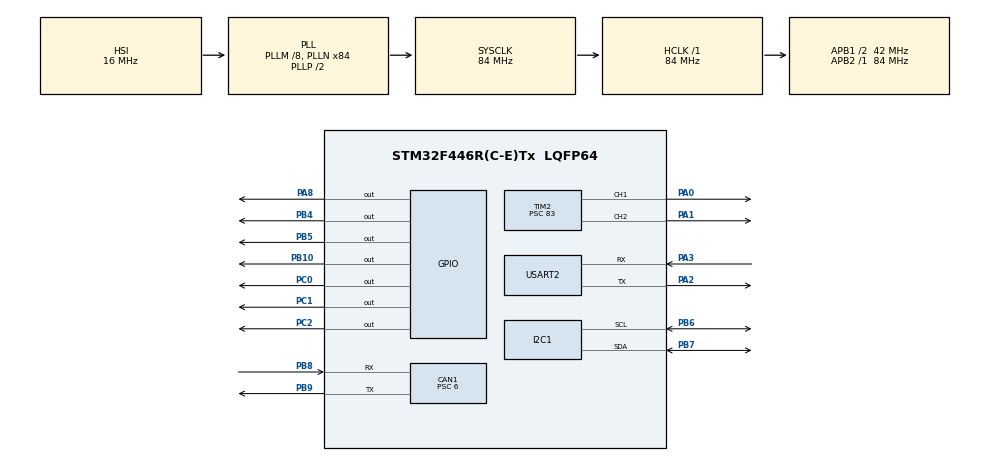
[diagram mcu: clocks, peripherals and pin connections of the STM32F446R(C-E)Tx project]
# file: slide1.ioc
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CAN1.BS1=CAN_BS1_11TQ
CAN1.BS2=CAN_BS2_2TQ
CAN1.CalculateBaudRate=500000
CAN1.CalculateTimeBit=2000
CAN1.CalculateTimeQuantum=142.85714285714286
CAN1.Prescaler=6
FREERTOS.Tasks01=defaultTask,24,128,StartDefaultTask,Default,NULL,Dynamic,NULL,NULL
Mcu.Family=STM32F4
Mcu.Name=STM32F446R(C-E)Tx
Mcu.Package=LQFP64
NVIC.CAN1_RX0_IRQn=true\:5\:0\:false\:false\:true\:true\:true\:true\:true
NVIC.CAN1_TX_IRQn=true\:5\:0\:false\:false\:true\:true\:true\:true\:true
NVIC.PriorityGroup=NVIC_PRIORITYGROUP_4
NVIC.TIM6_DAC_IRQn=true\:15\:0\:false\:false\:true\:false\:false\:true\:true
NVIC.TimeBase=TIM6_DAC_IRQn
NVIC.TimeBaseIP=TIM6
PA0-WKUP.Signal=S_TIM2_CH1_ETR
PA1.Signal=S_TIM2_CH2
PA13.Mode=Serial_Wire
PA13.Signal=SYS_JTMS-SWDIO
PA14.Mode=Serial_Wire
PA14.Signal=SYS_JTCK-SWCLK
PA2.Mode=Asynchronous
PA2.Signal=USART2_TX
PA3.Mode=Asynchronous
PA3.Signal=USART2_RX
PA8.Signal=GPIO_Output
PB10.Signal=GPIO_Output
PB4.Signal=GPIO_Output
PB5.Signal=GPIO_Output
PB6.Mode=I2C
PB6.Signal=I2C1_SCL
PB7.Mode=I2C
PB7.Signal=I2C1_SDA
PB8.Mode=CAN_Activate
PB8.Signal=CAN1_RX
PB9.Mode=CAN_Activate
PB9.Signal=CAN1_TX
PC0.Signal=GPIO_Output
PC1.Signal=GPIO_Output
PC2.Signal=GPIO_Output
PH0-OSC_IN.Mode=HSE-External-Clock-Source
PH0-OSC_IN.Signal=RCC_OSC_IN
PH1-OSC_OUT.Mode=HSE-External-Clock-Source
PH1-OSC_OUT.Signal=RCC_OSC_OUT
ProjectManager.HeapSize=0x200
ProjectManager.StackSize=0x400
ProjectManager.TargetToolchain=CMake
RCC.AHBFreq_Value=84000000
RCC.APB1CLKDivider=RCC_HCLK_DIV2
RCC.APB1Freq_Value=42000000
RCC.APB1TimFreq_Value=84000000
RCC.APB2Freq_Value=84000000
RCC.APB2TimFreq_Value=84000000
RCC.CortexFreq_Value=84000000
RCC.HCLKFreq_Value=84000000
RCC.PLLM=8
RCC.PLLN=84
RCC.SYSCLKFreq_VALUE=84000000
RCC.SYSCLKSource=RCC_SYSCLKSOURCE_PLLCLK
RCC.USBFreq_Value=84000000
RCC.VCOOutputFreq_Value=168000000
SH.S_TIM2_CH1_ETR.0=TIM2_CH1,PWM Generation1 CH1
SH.S_TIM2_CH2.0=TIM2_CH2,PWM Generation2 CH2
TIM2.Channel-PWM\ Generation1\ CH1=TIM_CHANNEL_1
TIM2.Channel-PWM\ Generation2\ CH2=TIM_CHANNEL_2
TIM2.Period=19999
TIM2.Prescaler=83
USART2.VirtualMode=VM_ASYNC
VP_FREERTOS_VS_CMSIS_V2.Mode=CMSIS_V2
VP_SYS_VS_tim6.Mode=TIM6
VP_TIM2_VS_ClockSourceINT.Mode=Internal
board=custom

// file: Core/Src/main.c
/* USER CODE BEGIN Header */
/**
  ******************************************************************************
  * @file           : main.c
  * @brief          : Main program body
  ******************************************************************************
  * @attention
  *
  * Copyright (c) 2026 STMicroelectronics.
  * All rights reserved.
  *
  * This software is licensed under terms that can be found in the LICENSE file
  * in the root directory of this software component.
  * If no LICENSE file comes with this software, it is provided AS-IS.
  *
  ******************************************************************************
  */
/* USER CODE END Header */
#include "main.h"
#include "cmsis_os.h"
#include "can.h"
#include "i2c.h"
#include "tim.h"
#include "usart.h"
#include "gpio.h"

/* USER CODE BEGIN Includes */
#include <stdio.h>      /* printf */
#include "slide.h"          /* 슬라이드 스텝모터 모듈 */
#include "servo.h"          /* 리클라인 서보(SG90 x2) 모듈 — TIM2 PWM */
#include "ina226.h"         /* 서보 전류센서(INA226 x2) — 안티핀치 */
#include "model_car_net.h"  /* cantools 생성 DBC 라이브러리 (프레임 ID/시그널 정식 정의) */
#include "cmsis_os.h"       /* FreeRTOS CMSIS-RTOS2 (태스크/큐/osDelay) */
/* USER CODE END Includes */

/* USER CODE BEGIN PD */
/* 프레임 ID는 model_car_net.h(DBC)를 정식 기준으로 사용한다.
 *   HMI_Emergency        = 0x010  (기존 0x500 매직값은 폐기)
 *   Rear_Left_Seat_Cmd   = 0x120  / _Status = 0x220
 *   Rear_Right_Seat_Cmd  = 0x121  / _Status = 0x221
 */
#define STATUS_PERIOD_MS 100       /* 상태 브로드캐스트 주기 */

/* 슬라이드 위치 센티넬: RL_Slide_Position(0~100mm) 범위 밖 값으로 특수 명령 표현.
 *   255 = 재영점("여기를 0으로", 모터 안 움직임)  — cantest.py 'z'
 *   254 = 호밍("오른쪽 끝 시작점으로 가서 0점 잡기")  — cantest.py 'h'
 * 중간에서 부팅됐을 때 254로 실제 시작점까지 보낸 뒤 m<mm>를 쓰면 절대위치가 맞는다. */
#define SLIDE_REZERO_CMD 255
#define SLIDE_HOME_CMD   254
#define SLIDE_HOLD_CMD   253   /* 슬라이드 유지(안 움직임) — 리클라인 서보만 조정할 때 */

/* 안티핀치: 서보 전류센서(INA226) 7비트 주소 + 판정 파라미터.
 * 서보가 끼임으로 스톨되면 전류가 급상승(SG90 구동 ~150mA → 스톨 ~700mA). */
#define INA226_ADDR_RL    0x40     /* RL 리클라인 서보 전류 → rl_pinch_detected */
#define INA226_ADDR_RR    0x41     /* RR 리클라인 서보 전류 → rr_pinch_detected */
#define PINCH_CURRENT_MA  60000      /* TODO(calibration): 끼임 판정 전류 임계값(mA) */
#define PINCH_DEBOUNCE    3        /* 연속 N회 초과 시 확정(돌입전류 오검출 방지) */
#define PINCH_PERIOD_MS   20       /* 전류 폴링 주기 */
#define PINCH_BACKOFF_DEG 15       /* 끼임 시 서보를 이 각만큼 후퇴시켜 압력 해제 */
#define PINCH_DEBUG       1        /* 1=서보 전류를 300ms마다 UART 출력(진단/임계값 보정용). 끝나면 0 */
/* USER CODE END PD */

/* USER CODE BEGIN PV */
/* 리클라인 각도는 servo 모듈이 보관(servo_get_deg)하므로 별도 에코 변수 불필요 */
uint8_t  cmd_cargo_lamp = 0;       /* TODO: 램프 GPIO */
volatile uint8_t pinch_rl = 0;     /* INA226 안티핀치: 1=RL 끼임(래치). MotionTask 기록/StatusTask 읽기 */
volatile uint8_t pinch_rr = 0;     /* 1=RR 서보 끼임 감지(래치) */
static uint8_t ina_ok_rl = 0;      /* INA226(RL) 장착 여부 — 미장착이면 모니터 skip */
static uint8_t ina_ok_rr = 0;      /* INA226(RR) 장착 여부 */

/* FreeRTOS: CAN 수신 프레임 → 큐 → MotionTask 에서 디코드. ISR 부담 최소화 + 상태 단일소유. */
typedef struct { uint32_t id; uint8_t dlc; uint8_t data[8]; } can_frame_t;
static osMessageQueueId_t canRxQ;
/* USER CODE END PV */

void SystemClock_Config(void);
void MX_FREERTOS_Init(void);
/* USER CODE BEGIN PFP */
static void CAN_Config(void);
static void send_status(void);
static void pinch_service(void);
static void can_dispatch(const can_frame_t *f);   /* 큐에서 꺼낸 프레임 처리(MotionTask) */
void StartMotionTask(void *argument);             /* 액추에이터 + CAN 디스패치 */
void StartStatusTask(void *argument);             /* 상태 송신(100ms) */
void app_rtos_init(void);                          /* 큐/태스크 생성(freertos.c 에서 호출) */
#if PINCH_DEBUG
static void i2c_scan(void);
#endif
/* USER CODE END PFP */

int main(void)
{

  /* MCU Configuration--------------------------------------------------------*/

  /* Reset of all peripherals, Initializes the Flash interface and the Systick. */
  HAL_Init();

  /* Configure the system clock */
  SystemClock_Config();

  /* Initialize all configured peripherals */
  MX_GPIO_Init();
  MX_CAN1_Init();
  MX_USART2_UART_Init();
  MX_TIM2_Init();
  MX_I2C1_Init();
  /* USER CODE BEGIN 2 */
  CAN_Config();
  slide_init();
  servo_init();                       /* 리클라인 서보 PWM 시작(두 채널 0°) */
  servo_set_deg(SERVO_RL, 90);        /* 부팅/리셋 시 좌석 각도 기본 90° (스케줄러 시작 후 servo_service가 램프) */
  servo_set_deg(SERVO_RR, 90);
  ina_ok_rl = ina226_init(INA226_ADDR_RL);   /* 미장착이면 0 → 해당 축 모니터 skip */
  ina_ok_rr = ina226_init(INA226_ADDR_RR);
  printf("Rear_Zone_ECU boot (INA226 RL=%u RR=%u)\r\n", ina_ok_rl, ina_ok_rr);
#if PINCH_DEBUG
  i2c_scan();                                 /* 버스에 응답하는 I2C 주소 출력(진단) */
#endif
  slide_home();                       /* 부팅 시 0점 잡기 */
  /* USER CODE END 2 */

  /* Init scheduler */
  osKernelInitialize();  /* Call init function for freertos objects (in cmsis_os2.c) */
  MX_FREERTOS_Init();

  /* Start scheduler */
  osKernelStart();

  /* We should never get here as control is now taken by the scheduler */

  /* Infinite loop */
  while (1)
  {

    /* USER CODE BEGIN 3 */
    /* FreeRTOS 스케줄러가 제어를 가져가므로 이 지점(main while)엔 도달하지 않음.
     * 애플리케이션 로직은 MotionTask / StatusTask 로 이동(USER CODE 4). */
  }
  /* USER CODE END 3 */
}

void SystemClock_Config(void)
{
  RCC_OscInitTypeDef RCC_OscInitStruct = {0};
  RCC_ClkInitTypeDef RCC_ClkInitStruct = {0};

  /** Configure the main internal regulator output voltage
  */
  __HAL_RCC_PWR_CLK_ENABLE();
  __HAL_PWR_VOLTAGESCALING_CONFIG(PWR_REGULATOR_VOLTAGE_SCALE3);

  /** Initializes the RCC Oscillators according to the specified parameters
  * in the RCC_OscInitTypeDef structure.
  */
  RCC_OscInitStruct.OscillatorType = RCC_OSCILLATORTYPE_HSI;
  RCC_OscInitStruct.HSIState = RCC_HSI_ON;
  RCC_OscInitStruct.HSICalibrationValue = RCC_HSICALIBRATION_DEFAULT;
  RCC_OscInitStruct.PLL.PLLState = RCC_PLL_ON;
  RCC_OscInitStruct.PLL.PLLSource = RCC_PLLSOURCE_HSI;
  RCC_OscInitStruct.PLL.PLLM = 8;
  RCC_OscInitStruct.PLL.PLLN = 84;
  RCC_OscInitStruct.PLL.PLLP = RCC_PLLP_DIV2;
  RCC_OscInitStruct.PLL.PLLQ = 2;
  RCC_OscInitStruct.PLL.PLLR = 2;
  if (HAL_RCC_OscConfig(&RCC_OscInitStruct) != HAL_OK)
  {
    Error_Handler();
  }

  /** Initializes the CPU, AHB and APB buses clocks
  */
  RCC_ClkInitStruct.ClockType = RCC_CLOCKTYPE_HCLK|RCC_CLOCKTYPE_SYSCLK
                              |RCC_CLOCKTYPE_PCLK1|RCC_CLOCKTYPE_PCLK2;
  RCC_ClkInitStruct.SYSCLKSource = RCC_SYSCLKSOURCE_PLLCLK;
  RCC_ClkInitStruct.AHBCLKDivider = RCC_SYSCLK_DIV1;
  RCC_ClkInitStruct.APB1CLKDivider = RCC_HCLK_DIV2;
  RCC_ClkInitStruct.APB2CLKDivider = RCC_HCLK_DIV1;

  if (HAL_RCC_ClockConfig(&RCC_ClkInitStruct, FLASH_LATENCY_2) != HAL_OK)
  {
    Error_Handler();
  }
}

/* USER CODE BEGIN 4 */

/* printf → USART2 (ST-Link VCP) 리타게팅.
 * syscalls.c 의 weak _write 가 문자마다 __io_putchar 를 호출한다. */
int __io_putchar(int ch)
{
  HAL_UART_Transmit(&huart2, (uint8_t *)&ch, 1, HAL_MAX_DELAY);
  return ch;
}

/* CAN: 필터(전부 통과) + 시작 + 수신 인터럽트 활성화.
 * NVIC enable 은 can.c 의 MspInit 에서 이미 했으므로 여기선 하지 않는다. */
static void CAN_Config(void)
{
  CAN_FilterTypeDef f = {0};
  f.FilterBank           = 0;
  f.FilterMode           = CAN_FILTERMODE_IDMASK;
  f.FilterScale          = CAN_FILTERSCALE_32BIT;
  f.FilterIdHigh         = 0x0000;
  f.FilterIdLow          = 0x0000;
  f.FilterMaskIdHigh     = 0x0000;   /* mask 0 = 전부 통과 */
  f.FilterMaskIdLow      = 0x0000;
  f.FilterFIFOAssignment = CAN_RX_FIFO0;
  f.FilterActivation     = ENABLE;

  HAL_CAN_ConfigFilter(&hcan1, &f);
  HAL_CAN_Start(&hcan1);
  HAL_CAN_ActivateNotification(&hcan1, CAN_IT_RX_FIFO0_MSG_PENDING);
}

/* 상태 브로드캐스트: 0x220(좌), 0x221(우). DBC pack 함수로 직렬화 */
static void send_status(void)
{
  CAN_TxHeaderTypeDef tx = {0};
  uint32_t mbx;
  uint8_t  d[8] = {0};

  tx.IDE = CAN_ID_STD;
  tx.RTR = CAN_RTR_DATA;

  /* 0x220 Rear_Left_Seat_Status */
  struct model_car_net_rear_left_seat_status_t rl = {
    .curr_rl_recline   = servo_get_deg(SERVO_RL),  /* RL 리클라인 서보 지령각(°) */
    .rl_pinch_detected = pinch_rl,                 /* INA226 안티핀치 결과(래치) */
    .curr_rl_slide     = slide_report_pos_mm(SLIDE_RL), /* 슬라이드 위치 0~100mm, 0xFF=원점 미확정 */
  };
  tx.StdId = MODEL_CAR_NET_REAR_LEFT_SEAT_STATUS_FRAME_ID;
  tx.DLC   = (uint32_t)model_car_net_rear_left_seat_status_pack(d, &rl, sizeof(d));
  HAL_CAN_AddTxMessage(&hcan1, &tx, d, &mbx);

  /* 0x221 Rear_Right_Seat_Status */
  struct model_car_net_rear_right_seat_status_t rr = {
    .curr_rr_recline   = servo_get_deg(SERVO_RR),  /* RR 리클라인 서보 지령각(°) */
    .rr_pinch_detected = pinch_rr,
    .curr_rr_slide     = slide_report_pos_mm(SLIDE_RR), /* 슬라이드 위치 0~100mm, 0xFF=원점 미확정 */
  };
  tx.StdId = MODEL_CAR_NET_REAR_RIGHT_SEAT_STATUS_FRAME_ID;
  tx.DLC   = (uint32_t)model_car_net_rear_right_seat_status_pack(d, &rr, sizeof(d));
  HAL_CAN_AddTxMessage(&hcan1, &tx, d, &mbx);
}

/* CAN 수신 콜백(ISR): 프레임만 큐에 넣고 즉시 반환 → 무거운 디코드/구동은 MotionTask 로.
 * 큐가 꽉 차면(timeout 0) 드롭. ISR 부담 최소화 + 액추에이터 접근을 단일 태스크로 일원화. */
void HAL_CAN_RxFifo0MsgPendingCallback(CAN_HandleTypeDef *hcan)
{
  CAN_RxHeaderTypeDef rx;
  can_frame_t f = {0};

  if (HAL_CAN_GetRxMessage(hcan, CAN_RX_FIFO0, &rx, f.data) != HAL_OK) return;
  f.id  = rx.StdId;
  f.dlc = rx.DLC;
  osMessageQueuePut(canRxQ, &f, 0, 0);   /* ISR-safe(timeout 0) */
}

/* 큐에서 꺼낸 CAN 프레임을 DBC unpack 하여 slide/servo 모듈로 전달(MotionTask 문맥에서 호출).
 * unpack 의 size 인자는 소스 버퍼 크기(8). data 를 0으로 초기화했으므로 DLC 가 짧아도 0으로 읽힘. */
static void can_dispatch(const can_frame_t *f)
{
  switch (f->id) {

    case MODEL_CAR_NET_SAFE_ABORT_FRAME_ID: {          /* 0x010 SafeAbort: 최고 우선 처리 */
      struct model_car_net_safe_abort_t m;
      if (model_car_net_safe_abort_unpack(&m, f->data, sizeof(f->data)) == 0)
        slide_estop(m.stop_flag);                      /* 1=래치 정지, 0=해제 */
      break;
    }

    case MODEL_CAR_NET_REAR_LEFT_SEAT_CMD_FRAME_ID: {  /* 0x120: 좌석 좌 */
      struct model_car_net_rear_left_seat_cmd_t m;
      if (model_car_net_rear_left_seat_cmd_unpack(&m, f->data, sizeof(f->data)) == 0) {
        pinch_rl = 0;                                  /* 새 명령 = 끼임 해소 간주, 래치 해제 */
        servo_set_deg(SERVO_RL, m.rl_recline_angle);   /* 리클라인 SG90 서보(좌) */
        if (m.rl_slide_position == SLIDE_HOLD_CMD)
          { /* 253 = 슬라이드 유지: 이동 명령 없음(서보만 조정) */ }
        else if (m.rl_slide_position == SLIDE_REZERO_CMD)
          slide_rezero(SLIDE_RL);                       /* 255 = 현재 위치를 0점으로 재설정 */
        else if (m.rl_slide_position == SLIDE_HOME_CMD)
          slide_seek_home(SLIDE_RL);                    /* 254 = 오른쪽 끝(시작점)으로 호밍 */
        else
          slide_set_target_mm(SLIDE_RL, m.rl_slide_position);  /* RL 슬라이드 축(PB5/PB4/PB10) */
      }
      break;
    }

    case MODEL_CAR_NET_REAR_RIGHT_SEAT_CMD_FRAME_ID: { /* 0x121: 좌석 우 */
      struct model_car_net_rear_right_seat_cmd_t m;
      if (model_car_net_rear_right_seat_cmd_unpack(&m, f->data, sizeof(f->data)) == 0) {
        pinch_rr = 0;                                  /* 새 명령 = 끼임 해소 간주, 래치 해제 */
        servo_set_deg(SERVO_RR, m.rr_recline_angle);   /* 리클라인 SG90 서보(우) */
        cmd_cargo_lamp = m.cargo_lamp_status;          /* TODO 램프 GPIO */
        if (m.rr_slide_position == SLIDE_HOLD_CMD)
          { /* 253 = 슬라이드 유지: 이동 명령 없음(서보만 조정) */ }
        else if (m.rr_slide_position == SLIDE_REZERO_CMD)
          slide_rezero(SLIDE_RR);                      /* 255 = 현재 위치를 0점으로 재설정 */
        else if (m.rr_slide_position == SLIDE_HOME_CMD)
          slide_seek_home(SLIDE_RR);                   /* 254 = 오른쪽 끝(시작점)으로 호밍 */
        else
          slide_set_target_mm(SLIDE_RR, m.rr_slide_position);  /* RR 슬라이드 축(PC0/PC1/PC2) */
      }
      break;
    }

    default:
      break;
  }
}

#if PINCH_DEBUG
/* I2C1 버스 스캐너: 0x01~0x7F 주소에 ACK가 오는 장치를 출력(부팅 1회 진단).
 *   - 아무것도 안 나오면 → 전원/풀업/배선(SDA·SCL) 문제 (버스 자체가 죽음)
 *   - 0x40/0x41 아닌 다른 주소가 나오면 → 모듈 주소가 다른 것(A0/A1 핀) */
static void i2c_scan(void)
{
  printf("I2C scan:");
  uint8_t found = 0;
  for (uint8_t a = 1; a < 128; a++) {
    if (HAL_I2C_IsDeviceReady(&hi2c1, (uint16_t)(a << 1), 2, 5) == HAL_OK) {
      printf(" 0x%02X", a);
      found++;
    }
  }
  printf(found ? "\r\n" : " (없음 - 전원/풀업/배선 확인)\r\n");
}
#endif

/* 안티핀치: 두 서보의 전류를 주기적으로 읽어 스톨(끼임)을 감지한다.
 * 임계 전류를 PINCH_DEBOUNCE회 연속 넘으면 끼임 확정 → pinch 래치 ON(상태로 보고)
 * + 서보를 PINCH_BACKOFF_DEG 만큼 후퇴시켜 압력을 해제한다.
 * 미장착 센서(ina_ok=0)는 건너뛴다. 래치는 새 명령 수신 시 해제(RxCallback). */
static void pinch_service(void)
{
  static uint32_t lastTick = 0;
  static uint8_t  cntRL = 0, cntRR = 0;

  uint32_t now = HAL_GetTick();

#if PINCH_DEBUG
  /* 진단: 300ms마다 두 서보 전류·센서인식·핀치상태를 UART로 출력.
   * 막았을 때 mA가 얼마나 뛰는지 보고 PINCH_CURRENT_MA 를 그 아래로 맞춘다. */
  static uint32_t lastDbgTick = 0;
  if (now - lastDbgTick >= 300) {
    lastDbgTick = now;
    int32_t iRL = ina226_read_current_mA(INA226_ADDR_RL);
    int32_t iRR = ina226_read_current_mA(INA226_ADDR_RR);
    printf("INA RL(ok%u) %ldmA | RR(ok%u) %ldmA | pinch[%u %u]\r\n",
           ina_ok_rl, (long)iRL, ina_ok_rr, (long)iRR, pinch_rl, pinch_rr);
  }
#endif

  if (now - lastTick < PINCH_PERIOD_MS) return;       /* 폴링 주기 throttle */
  lastTick = now;

  if (ina_ok_rl) {
    int32_t i = ina226_read_current_mA(INA226_ADDR_RL);
    if (i < 0) i = -i;                                 /* 배선 방향 무관, 절대전류 */
    if (i > PINCH_CURRENT_MA) {
      if (++cntRL >= PINCH_DEBOUNCE) {
        cntRL = 0;
        pinch_rl = 1;
        servo_pinch_relief(SERVO_RL, PINCH_BACKOFF_DEG);   /* 진행 반대로 후퇴+정지 */
      }
    } else {
      cntRL = 0;
    }
  }

  if (ina_ok_rr) {
    int32_t i = ina226_read_current_mA(INA226_ADDR_RR);
    if (i < 0) i = -i;
    if (i > PINCH_CURRENT_MA) {
      if (++cntRR >= PINCH_DEBOUNCE) {
        cntRR = 0;
        pinch_rr = 1;
        servo_pinch_relief(SERVO_RR, PINCH_BACKOFF_DEG);   /* 진행 반대로 후퇴+정지 */
      }
    } else {
      cntRR = 0;
    }
  }
}

/* --------------------------------------------------------------------------
 *  FreeRTOS 태스크 (슈퍼루프 → 태스크 분리)
 * ------------------------------------------------------------------------ */

/* MotionTask(높은 우선순위): CAN 명령 소비 → 슬라이드/서보/안티핀치 서비스.
 * 액추에이터·I2C 상태를 이 태스크가 단독 소유하므로 별도 락 불필요.
 * osDelay(1)로 1ms 주기 — 스텝 타이밍은 slide.c 내부 DWT(µs) 판정 유지. */
void StartMotionTask(void *argument)
{
  (void)argument;
  uint32_t lastStatusTick = 0;
  for (;;) {
    can_frame_t f;
    while (osMessageQueueGet(canRxQ, &f, NULL, 0) == osOK)
      can_dispatch(&f);               /* 수신 명령 적용(디코드) */
    slide_service();                  /* 논블로킹 슬라이드 이동 */
    servo_service();                  /* 논블로킹 서보 램프 */
    pinch_service();                  /* 안티핀치(내부 20ms throttle) */
    /* 이동 중엔 tight-loop로 정밀 스텝(DWT µs) — osDelay(1) 지터가 스텝모터 탈조 유발.
     * 대기 중엔 osDelay로 StatusTask/idle 에 양보(HAL tick=TIM6·DWT는 계속 진행). */
    if (slide_is_moving()) {
      /* 이동 중에도 현재 위치 보고: tight-loop가 StatusTask(Normal)를 기아시키므로,
       * 여기서 STATUS_PERIOD_MS 주기로 직접 송신한다. 이동 종료 시 StatusTask가 최종 위치를 확정 송신. */
      uint32_t now = osKernelGetTickCount();
      if (now - lastStatusTick >= STATUS_PERIOD_MS) { send_status(); lastStatusTick = now; }
      osThreadYield();
    } else {
      osDelay(1);
    }
  }
}

/* StatusTask(보통 우선순위): 0x220/0x221 상태를 100ms 주기로 송신.
 * 위치/핀치 등은 단일 int 읽기라 atomic — 별도 락 없이 스냅샷 송신. */
void StartStatusTask(void *argument)
{
  (void)argument;
  for (;;) {
    send_status();
    osDelay(STATUS_PERIOD_MS);
  }
}

/* 큐/태스크 생성. osKernelInitialize 이후(스케줄러 시작 전)에 호출되어야 하므로
 * freertos.c 의 MX_FREERTOS_Init 에서 부른다. */
void app_rtos_init(void)
{
  canRxQ = osMessageQueueNew(8, sizeof(can_frame_t), NULL);

  const osThreadAttr_t motion_attr = {
    .name = "Motion", .stack_size = 512 * 4, .priority = osPriorityHigh,
  };
  const osThreadAttr_t status_attr = {
    .name = "Status", .stack_size = 256 * 4, .priority = osPriorityNormal,
  };
  osThreadNew(StartMotionTask, NULL, &motion_attr);
  osThreadNew(StartStatusTask, NULL, &status_attr);
}

/* USER CODE END 4 */

void HAL_TIM_PeriodElapsedCallback(TIM_HandleTypeDef *htim)
{
  if (htim->Instance == TIM6)
  {
    HAL_IncTick();
  }
}

void Error_Handler(void)
{
  __disable_irq();
  while (1)
  {
  }
}

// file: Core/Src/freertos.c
/* USER CODE BEGIN Header */
/**
  ******************************************************************************
  * File Name          : freertos.c
  * Description        : Code for freertos applications
  ******************************************************************************
  * @attention
  *
  * Copyright (c) 2026 STMicroelectronics.
  * All rights reserved.
  *
  * This software is licensed under terms that can be found in the LICENSE file
  * in the root directory of this software component.
  * If no LICENSE file comes with this software, it is provided AS-IS.
  *
  ******************************************************************************
  */
/* USER CODE END Header */

#include "FreeRTOS.h"
#include "task.h"
#include "main.h"
#include "cmsis_os.h"

/* Definitions for defaultTask */
osThreadId_t defaultTaskHandle;
const osThreadAttr_t defaultTask_attributes = {
  .name = "defaultTask",
  .stack_size = 128 * 4,
  .priority = (osPriority_t) osPriorityNormal,
};

void StartDefaultTask(void *argument);

void MX_FREERTOS_Init(void); /* (MISRA C 2004 rule 8.1) */

void MX_FREERTOS_Init(void) {

  /* Create the thread(s) */
  /* creation of defaultTask */
  defaultTaskHandle = osThreadNew(StartDefaultTask, NULL, &defaultTask_attributes);

  /* USER CODE BEGIN RTOS_THREADS */
  extern void app_rtos_init(void);   /* main.c: CAN 큐 + MotionTask/StatusTask 생성 */
  app_rtos_init();
  /* USER CODE END RTOS_THREADS */

}

void StartDefaultTask(void *argument)
{
  for(;;)
  {
    osDelay(1);
  }
}
